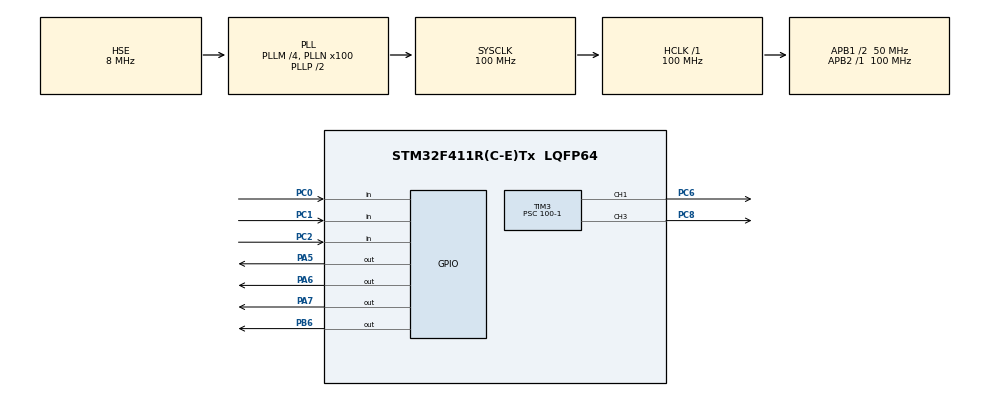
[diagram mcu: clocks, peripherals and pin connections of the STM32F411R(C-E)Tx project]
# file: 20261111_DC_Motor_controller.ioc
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Mcu.Family=STM32F4
Mcu.Name=STM32F411R(C-E)Tx
Mcu.Package=LQFP64
NVIC.PriorityGroup=NVIC_PRIORITYGROUP_4
PA13.Mode=Serial_Wire
PA13.Signal=SYS_JTMS-SWDIO
PA14.Mode=Serial_Wire
PA14.Signal=SYS_JTCK-SWCLK
PA5.Signal=GPIO_Output
PA6.Signal=GPIO_Output
PA7.Signal=GPIO_Output
PB6.Signal=GPIO_Output
PC0.Signal=GPIO_Input
PC1.Signal=GPIO_Input
PC2.Signal=GPIO_Input
PC6.Signal=S_TIM3_CH1
PC8.Signal=S_TIM3_CH3
PH0\ -\ OSC_IN.Mode=HSE-External-Oscillator
PH0\ -\ OSC_IN.Signal=RCC_OSC_IN
PH1\ -\ OSC_OUT.Mode=HSE-External-Oscillator
PH1\ -\ OSC_OUT.Signal=RCC_OSC_OUT
ProjectManager.HeapSize=0x200
ProjectManager.StackSize=0x400
ProjectManager.TargetToolchain=STM32CubeIDE
RCC.48MHZClocksFreq_Value=50000000
RCC.AHBFreq_Value=100000000
RCC.APB1CLKDivider=RCC_HCLK_DIV2
RCC.APB1Freq_Value=50000000
RCC.APB1TimFreq_Value=100000000
RCC.APB2Freq_Value=100000000
RCC.APB2TimFreq_Value=100000000
RCC.CortexFreq_Value=100000000
RCC.HCLKFreq_Value=100000000
RCC.HSE_VALUE=8000000
RCC.HSI_VALUE=16000000
RCC.LSE_VALUE=32768
RCC.PLLM=4
RCC.PLLN=100
RCC.PLLSourceVirtual=RCC_PLLSOURCE_HSE
RCC.SYSCLKFreq_VALUE=100000000
RCC.SYSCLKSource=RCC_SYSCLKSOURCE_PLLCLK
RCC.VCOOutputFreq_Value=200000000
SH.S_TIM3_CH1.0=TIM3_CH1,PWM Generation1 CH1
SH.S_TIM3_CH3.0=TIM3_CH3,PWM Generation3 CH3
TIM3.AutoReloadPreload=TIM_AUTORELOAD_PRELOAD_ENABLE
TIM3.Channel-PWM\ Generation1\ CH1=TIM_CHANNEL_1
TIM3.Channel-PWM\ Generation3\ CH3=TIM_CHANNEL_3
TIM3.Period=1000-1
TIM3.Prescaler=100-1
VP_TIM3_VS_ClockSourceINT.Mode=Internal
board=custom

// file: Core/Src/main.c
/* USER CODE BEGIN Header */
/**
 ******************************************************************************
 * @file           : main.c
 * @brief          : Main program body
 ******************************************************************************
 * @attention
 *
 * Copyright (c) 2026 STMicroelectronics.
 * All rights reserved.
 *
 * This software is licensed under terms that can be found in the LICENSE file
 * in the root directory of this software component.
 * If no LICENSE file comes with this software, it is provided AS-IS.
 *
 ******************************************************************************
 */
/* USER CODE END Header */
#include "main.h"

/* USER CODE BEGIN Includes */
#include "driver/button/button.h"
#include "driver/dc_motor/dc_motor.h"
/* USER CODE END Includes */

TIM_HandleTypeDef htim3;

void SystemClock_Config(void);
static void MX_GPIO_Init(void);
static void MX_TIM3_Init(void);

int main(void)
{

	/* MCU Configuration--------------------------------------------------------*/

	/* Reset of all peripherals, Initializes the Flash interface and the Systick. */
	HAL_Init();

	/* Configure the system clock */
	SystemClock_Config();

	/* Initialize all configured peripherals */
	MX_GPIO_Init();
	MX_TIM3_Init();
	/* USER CODE BEGIN 2 */

	typedef enum {
		STOP,
		FORWARD,
		BACKWARD,
		RIGHT,
		LEFT
	} motor_state_t;
	motor_state_t state = STOP;

	button_t btn_run_stop, btn_right, btn_left;
	button_init(&btn_run_stop, GPIOC, GPIO_PIN_0);
	button_init(&btn_right, GPIOC, GPIO_PIN_1);
	button_init(&btn_left, GPIOC, GPIO_PIN_2);

	motor_t motor_l, motor_r;
	motor_init(&motor_r, &htim3, TIM_CHANNEL_3, GPIOA, GPIO_PIN_5, GPIOA, GPIO_PIN_6);
	motor_init(&motor_l, &htim3, TIM_CHANNEL_1, GPIOB, GPIO_PIN_6, GPIOA, GPIO_PIN_7);
	motor_set_speed(900);
	/* USER CODE END 2 */

	/* Infinite loop */
	/* USER CODE BEGIN WHILE */
	while (1)
	{
		switch(state)
		{
		case STOP:
			if (button_getState(&btn_run_stop) == ACT_RELEASE) {
				state = FORWARD;
			}
			motor_stop(&motor_l, &motor_r);
			break;
		case FORWARD:
			if (button_getState(&btn_run_stop) == ACT_RELEASE) {
				state = STOP;
			}
			else if (button_getState(&btn_right) == ACT_RELEASE) {
				state = RIGHT;
			}
			else if (button_getState(&btn_left) == ACT_RELEASE) {
				state = LEFT;
			}
			motor_forward(&motor_l, &motor_r);
			break;
		case BACKWARD:
			if (button_getState(&btn_run_stop) == ACT_RELEASE) {
				state = STOP;
			}
			else if (button_getState(&btn_right) == ACT_RELEASE) {
				state = FORWARD;
			}
			else if (button_getState(&btn_left) == ACT_RELEASE) {
				state = FORWARD;
			}
			motor_backward(&motor_l, &motor_r);
			break;
		case RIGHT:
			if (button_getState(&btn_run_stop) == ACT_RELEASE) {
				state = STOP;
			}
			else if (button_getState(&btn_right) == ACT_RELEASE) {
				state = BACKWARD;
			}
			motor_right(&motor_l, &motor_r);
			break;
		case LEFT:
			if (button_getState(&btn_run_stop) == ACT_RELEASE) {
				state = STOP;
			}
			else if (button_getState(&btn_left) == ACT_RELEASE) {
				state = BACKWARD;
			}
			motor_left(&motor_l, &motor_r);
			break;
		default:
			motor_stop(&motor_l, &motor_r);
			HAL_TIM_PWM_Stop(&htim3, TIM_CHANNEL_1);
			HAL_TIM_PWM_Stop(&htim3, TIM_CHANNEL_3);
			break;
		}
		/* USER CODE END WHILE */

	}
}

void SystemClock_Config(void)
{
	RCC_OscInitTypeDef RCC_OscInitStruct = {0};
	RCC_ClkInitTypeDef RCC_ClkInitStruct = {0};

	/** Configure the main internal regulator output voltage
	 */
	__HAL_RCC_PWR_CLK_ENABLE();
	__HAL_PWR_VOLTAGESCALING_CONFIG(PWR_REGULATOR_VOLTAGE_SCALE1);

	/** Initializes the RCC Oscillators according to the specified parameters
	 * in the RCC_OscInitTypeDef structure.
	 */
	RCC_OscInitStruct.OscillatorType = RCC_OSCILLATORTYPE_HSE;
	RCC_OscInitStruct.HSEState = RCC_HSE_ON;
	RCC_OscInitStruct.PLL.PLLState = RCC_PLL_ON;
	RCC_OscInitStruct.PLL.PLLSource = RCC_PLLSOURCE_HSE;
	RCC_OscInitStruct.PLL.PLLM = 4;
	RCC_OscInitStruct.PLL.PLLN = 100;
	RCC_OscInitStruct.PLL.PLLP = RCC_PLLP_DIV2;
	RCC_OscInitStruct.PLL.PLLQ = 4;
	if (HAL_RCC_OscConfig(&RCC_OscInitStruct) != HAL_OK)
	{
		Error_Handler();
	}

	/** Initializes the CPU, AHB and APB buses clocks
	 */
	RCC_ClkInitStruct.ClockType = RCC_CLOCKTYPE_HCLK|RCC_CLOCKTYPE_SYSCLK
			|RCC_CLOCKTYPE_PCLK1|RCC_CLOCKTYPE_PCLK2;
	RCC_ClkInitStruct.SYSCLKSource = RCC_SYSCLKSOURCE_PLLCLK;
	RCC_ClkInitStruct.AHBCLKDivider = RCC_SYSCLK_DIV1;
	RCC_ClkInitStruct.APB1CLKDivider = RCC_HCLK_DIV2;
	RCC_ClkInitStruct.APB2CLKDivider = RCC_HCLK_DIV1;

	if (HAL_RCC_ClockConfig(&RCC_ClkInitStruct, FLASH_LATENCY_3) != HAL_OK)
	{
		Error_Handler();
	}
}

static void MX_TIM3_Init(void)
{

	TIM_ClockConfigTypeDef sClockSourceConfig = {0};
	TIM_MasterConfigTypeDef sMasterConfig = {0};
	TIM_OC_InitTypeDef sConfigOC = {0};

	htim3.Instance = TIM3;
	htim3.Init.Prescaler = 100-1;
	htim3.Init.CounterMode = TIM_COUNTERMODE_UP;
	htim3.Init.Period = 1000-1;
	htim3.Init.ClockDivision = TIM_CLOCKDIVISION_DIV1;
	htim3.Init.AutoReloadPreload = TIM_AUTORELOAD_PRELOAD_ENABLE;
	if (HAL_TIM_Base_Init(&htim3) != HAL_OK)
	{
		Error_Handler();
	}
	sClockSourceConfig.ClockSource = TIM_CLOCKSOURCE_INTERNAL;
	if (HAL_TIM_ConfigClockSource(&htim3, &sClockSourceConfig) != HAL_OK)
	{
		Error_Handler();
	}
	if (HAL_TIM_PWM_Init(&htim3) != HAL_OK)
	{
		Error_Handler();
	}
	sMasterConfig.MasterOutputTrigger = TIM_TRGO_RESET;
	sMasterConfig.MasterSlaveMode = TIM_MASTERSLAVEMODE_DISABLE;
	if (HAL_TIMEx_MasterConfigSynchronization(&htim3, &sMasterConfig) != HAL_OK)
	{
		Error_Handler();
	}
	sConfigOC.OCMode = TIM_OCMODE_PWM1;
	sConfigOC.Pulse = 0;
	sConfigOC.OCPolarity = TIM_OCPOLARITY_HIGH;
	sConfigOC.OCFastMode = TIM_OCFAST_DISABLE;
	if (HAL_TIM_PWM_ConfigChannel(&htim3, &sConfigOC, TIM_CHANNEL_1) != HAL_OK)
	{
		Error_Handler();
	}
	if (HAL_TIM_PWM_ConfigChannel(&htim3, &sConfigOC, TIM_CHANNEL_3) != HAL_OK)
	{
		Error_Handler();
	}
	HAL_TIM_MspPostInit(&htim3);

}

static void MX_GPIO_Init(void)
{
	GPIO_InitTypeDef GPIO_InitStruct = {0};

	/* GPIO Ports Clock Enable */
	__HAL_RCC_GPIOH_CLK_ENABLE();
	__HAL_RCC_GPIOC_CLK_ENABLE();
	__HAL_RCC_GPIOA_CLK_ENABLE();
	__HAL_RCC_GPIOB_CLK_ENABLE();

	/*Configure GPIO pin Output Level */
	HAL_GPIO_WritePin(GPIOA, GPIO_PIN_5|GPIO_PIN_6|GPIO_PIN_7, GPIO_PIN_RESET);

	/*Configure GPIO pin Output Level */
	HAL_GPIO_WritePin(GPIOB, GPIO_PIN_6, GPIO_PIN_RESET);

	/*Configure GPIO pins : PC0 PC1 PC2 */
	GPIO_InitStruct.Pin = GPIO_PIN_0|GPIO_PIN_1|GPIO_PIN_2;
	GPIO_InitStruct.Mode = GPIO_MODE_INPUT;
	GPIO_InitStruct.Pull = GPIO_NOPULL;
	HAL_GPIO_Init(GPIOC, &GPIO_InitStruct);

	/*Configure GPIO pins : PA5 PA6 PA7 */
	GPIO_InitStruct.Pin = GPIO_PIN_5|GPIO_PIN_6|GPIO_PIN_7;
	GPIO_InitStruct.Mode = GPIO_MODE_OUTPUT_PP;
	GPIO_InitStruct.Pull = GPIO_NOPULL;
	GPIO_InitStruct.Speed = GPIO_SPEED_FREQ_LOW;
	HAL_GPIO_Init(GPIOA, &GPIO_InitStruct);

	/*Configure GPIO pin : PB6 */
	GPIO_InitStruct.Pin = GPIO_PIN_6;
	GPIO_InitStruct.Mode = GPIO_MODE_OUTPUT_PP;
	GPIO_InitStruct.Pull = GPIO_NOPULL;
	GPIO_InitStruct.Speed = GPIO_SPEED_FREQ_LOW;
	HAL_GPIO_Init(GPIOB, &GPIO_InitStruct);

}

void Error_Handler(void)
{
	__disable_irq();
	while (1)
	{
	}
}
